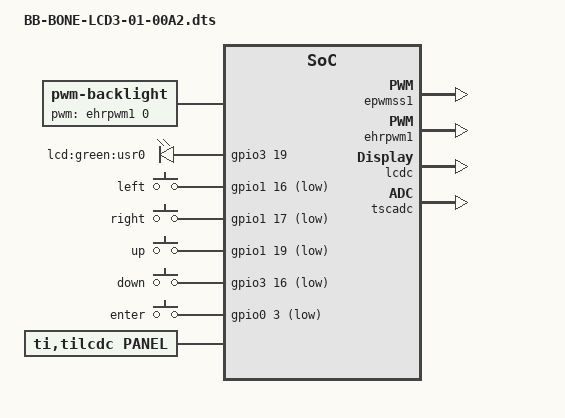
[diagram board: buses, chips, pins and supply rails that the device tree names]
/*
 * Copyright (C) 2012 Texas Instruments Incorporated - http://www.ti.com/
 *
 * This program is free software; you can redistribute it and/or modify
 * it under the terms of the GNU General Public License version 2 as
 * published by the Free Software Foundation.
 */
/dts-v1/;
/plugin/;

#include <dt-bindings/board/am335x-bbw-bbb-base.h>
#include <dt-bindings/gpio/gpio.h>
#include <dt-bindings/pinctrl/am33xx.h>

/ {
	compatible = "ti,beaglebone", "ti,beaglebone-black", "ti,beaglebone-green";

	/* identification */
	part-number = "BB-BONE-LCD3-01";
	version = "00A2";

	/* state the resources this cape uses */
	exclusive-use =
		/* the pin header uses */
		"P8.45",	/* lcd: lcd_data0 */
		"P8.46",	/* lcd: lcd_data1 */
		"P8.43",	/* lcd: lcd_data2 */
		"P8.44",	/* lcd: lcd_data3 */
		"P8.41",	/* lcd: lcd_data4 */
		"P8.42",	/* lcd: lcd_data5 */
		"P8.39",	/* lcd: lcd_data6 */
		"P8.40",	/* lcd: lcd_data7 */
		"P8.37",	/* lcd: lcd_data8 */
		"P8.38",	/* lcd: lcd_data9 */
		"P8.36",	/* lcd: lcd_data10 */
		"P8.34",	/* lcd: lcd_data11 */
		"P8.35",	/* lcd: lcd_data12 */
		"P8.33",	/* lcd: lcd_data13 */
		"P8.31",	/* lcd: lcd_data14 */
		"P8.32",	/* lcd: lcd_data15 */
		"P8.27",	/* lcd: lcd_vsync */
		"P8.29",	/* lcd: lcd_hsync */
		"P8.28",	/* lcd: lcd_pclk */
		"P8.30",	/* lcd: lcd_ac_bias_en */
		"P9.27",	/* led: gpio3_19 LED */
		"P9.14",	/* pwm: ehrpwm1a PWM_BL */
		"P9.15",	/* keys: gpio1_16 LEFT */
		"P9.23",	/* keys: gpio1_17 RIGHT */
		"P9.16",	/* keys: gpio1_19 UP */
		"P9.30",	/* keys: gpio3_16 DOWN */
		"P9.21",	/* keys: gpio0_3 ENTER */

		"ehrpwm1a",
		"gpio3_19",	/* LED */
		"gpio1_16",	/* LEFT */
		"gpio1_17",	/* RIGHT */
		"gpio1_19",	/* UP */
		"gpio3_16",	/* DOWN */
		"gpio0_3",	/* ENTER */
		"lcdc",
		"tscadc";

	fragment@0 {
		target = <&am33xx_pinmux>;
		__overlay__ {

			bb_lcd_led_pins: pinmux_bb_lcd_led_pins {
				pinctrl-single,pins = <
					BONE_P9_27 (PIN_OUTPUT_PULLDOWN | MUX_MODE7) /* mcasp0_fsr.gpio3_19 */
				>;
			};

			bb_lcd_pwm_backlight_pins: pinmux_bb_lcd_pwm_backlight_pins {
				pinctrl-single,pins = <
					BONE_P9_14 (PIN_OUTPUT_PULLDOWN | MUX_MODE6) /* gpmc_a2.ehrpwm1a */
				>;
			};

			bb_lcd_lcd_pins: pinmux_bb_lcd_lcd_pins {
				pinctrl-single,pins = <
					BONE_P8_45 (PIN_OUTPUT | MUX_MODE0) /* lcd_data0.lcd_data0 */
					BONE_P8_46 (PIN_OUTPUT | MUX_MODE0) /* lcd_data1.lcd_data1 */
					BONE_P8_43 (PIN_OUTPUT | MUX_MODE0) /* lcd_data2.lcd_data2 */
					BONE_P8_44 (PIN_OUTPUT | MUX_MODE0) /* lcd_data3.lcd_data3 */
					BONE_P8_41 (PIN_OUTPUT | MUX_MODE0) /* lcd_data4.lcd_data4 */
					BONE_P8_42 (PIN_OUTPUT | MUX_MODE0) /* lcd_data5.lcd_data5 */
					BONE_P8_39 (PIN_OUTPUT | MUX_MODE0) /* lcd_data6.lcd_data6 */
					BONE_P8_40 (PIN_OUTPUT | MUX_MODE0) /* lcd_data7.lcd_data7 */
					BONE_P8_37 (PIN_OUTPUT | MUX_MODE0) /* lcd_data8.lcd_data8 */
					BONE_P8_38 (PIN_OUTPUT | MUX_MODE0) /* lcd_data9.lcd_data9 */
					BONE_P8_36 (PIN_OUTPUT | MUX_MODE0) /* lcd_data10.lcd_data10 */
					BONE_P8_34 (PIN_OUTPUT | MUX_MODE0) /* lcd_data11.lcd_data11 */
					BONE_P8_35 (PIN_OUTPUT | MUX_MODE0) /* lcd_data12.lcd_data12 */
					BONE_P8_33 (PIN_OUTPUT | MUX_MODE0) /* lcd_data13.lcd_data13 */
					BONE_P8_31 (PIN_OUTPUT | MUX_MODE0) /* lcd_data14.lcd_data14 */
					BONE_P8_32 (PIN_OUTPUT | MUX_MODE0) /* lcd_data15.lcd_data15 */

					BONE_P8_27 (PIN_OUTPUT | MUX_MODE0) /* lcd_vsync.lcd_vsync */
					BONE_P8_29 (PIN_OUTPUT | MUX_MODE0) /* lcd_hsync.lcd_hsync */
					BONE_P8_28 (PIN_OUTPUT | MUX_MODE0) /* lcd_pclk.lcd_pclk */
					BONE_P8_30 (PIN_OUTPUT | MUX_MODE0) /* lcd_ac_bias_en.lcd_ac_bias_en */
				>;
			};

			bb_lcd_keymap_pins: pinmux_bb_lcd_keymap_pins {
				pinctrl-single,pins = <
					BONE_P9_15 (PIN_INPUT | MUX_MODE7) /* gpmc_a0.gpio1_16 */
					BONE_P9_23 (PIN_INPUT | MUX_MODE7) /* gpmc_a1.gpio1_17 */
					BONE_P9_16 (PIN_INPUT | MUX_MODE7) /* gpmc_a3.gpio1_19 */
					BONE_P9_30 (PIN_INPUT | MUX_MODE7) /* mcasp0_axr0.gpio3_16 */
					BONE_P9_21 (PIN_INPUT | MUX_MODE7) /* spi0_d0.gpio0_3 */
				>;
			};
		};
	};

	fragment@1 {
		target = <&epwmss1>;
		__overlay__ {
			status = "okay";
		};
	};

	fragment@2 {
		target = <&ehrpwm1>;
		__overlay__ {
			pinctrl-names = "default";
			pinctrl-0 = <&bb_lcd_pwm_backlight_pins>;
			status = "okay";
		};
	};

	fragment@3 {
		target = <&lcdc>;
		__overlay__ {
			status = "okay";
		};
	};

	fragment@4 {
		target = <&tscadc>;
		__overlay__ {

			status = "okay";
			tsc {
				ti,wires = <4>;
				ti,x-plate-resistance = <200>;
				ti,coordinate-readouts = <5>;
				ti,wire-config = <0x00 0x11 0x22 0x33>;
				ti,charge-delay = <0x400>;
			};

			adc {
				ti,adc-channels = <4 5 6 7>;
				ti,chan-step-opendelay = <0x098 0x3ffff 0x098 0x0>;
				ti,chan-step-sampledelay = <0xff 0x0 0xf 0x0>;
				ti,chan-step-avg = <16 2 4 8>;
			};
		};
	};

	fragment@5 {
		target-path="/";
		__overlay__ {

			/* avoid stupid warning */
			#address-cells = <1>;
			#size-cells = <1>;

			backlight {
				status = "okay";
				compatible = "pwm-backlight";
				pwms = <&ehrpwm1 0 500000 0>;
				brightness-levels = <
					0  1  2  3  4  5  6  7  8  9
					10 11 12 13 14 15 16 17 18 19
					20 21 22 23 24 25 26 27 28 29
					30 31 32 33 34 35 36 37 38 39
					40 41 42 43 44 45 46 47 48 49
					50 51 52 53 54 55 56 57 58 59
					60 61 62 63 64 65 66 67 68 69
					70 71 72 73 74 75 76 77 78 79
					80 81 82 83 84 85 86 87 88 89
					90 91 92 93 94 95 96 97 98 99
					100
				>;
				default-brightness-level = <100>;
			};

			gpio-leds-cape-lcd {
				compatible = "gpio-leds";
				pinctrl-names = "default";
				pinctrl-0 = <&bb_lcd_led_pins>;

				lcd-led0 {
					label = "lcd:green:usr0";
					gpios = <&gpio3 19 0>;
					linux,default-trigger = "heartbeat";
					default-state = "off";
				};
			};

			gpio_keys {
				compatible = "gpio-keys";
				pinctrl-names = "default";
				pinctrl-0 = <&bb_lcd_keymap_pins>;

				#address-cells = <1>;
				#size-cells = <0>;

				button@1 {
					debounce_interval = <50>;
					linux,code = <105>;
					label = "left";
					gpios = <&gpio1 16 0x1>;
					gpio-key,wakeup;
					autorepeat;
				};
				button@2 {
					debounce_interval = <50>;
					linux,code = <106>;
					label = "right";
					gpios = <&gpio1 17 0x1>;
					gpio-key,wakeup;
					autorepeat;
				};
				button@3 {
					debounce_interval = <50>;
					linux,code = <103>;
					label = "up";
					gpios = <&gpio1 19 0x1>;
					gpio-key,wakeup;
					autorepeat;
				};
				button@4 {
					debounce_interval = <50>;
					linux,code = <108>;
					label = "down";
					gpios = <&gpio3 16 0x1>;
					gpio-key,wakeup;
					autorepeat;
				};
				button@5 {
					debounce_interval = <50>;
					linux,code = <28>;
					label = "enter";
					gpios = <&gpio0 3 0x1>;
					gpio-key,wakeup;
				};
			};

			panel {
				status = "okay";
				compatible = "ti,tilcdc,panel";
				pinctrl-names = "default";
				pinctrl-0 = <&bb_lcd_lcd_pins>;
				panel-info {
					ac-bias           = <255>;
					ac-bias-intrpt    = <0>;
					dma-burst-sz      = <16>;
					bpp               = <16>;
					fdd               = <0x80>;
					sync-edge         = <0>;
					sync-ctrl         = <1>;
					raster-order      = <0>;
					fifo-th           = <0>;
					invert-pxl-clk;
				};
				display-timings {
					native-mode = <&timing0>;
					/* Settings for CDTech_S035Q01 / LCD3 cape: */
					timing0: 320x240 {
						clock-frequency = <8000000>;
						hactive = <320>;
						vactive = <240>;
						hfront-porch = <59>;
						hback-porch = <22>;
						hsync-len = <48>;
						vback-porch = <12>;
						vfront-porch = <23>;
						vsync-len = <2>;
						hsync-active = <0>;
						vsync-active = <0>;
						de-active = <1>;
						pixelclk-active = <0>;
					};
				};
			};
		};
	};
};
